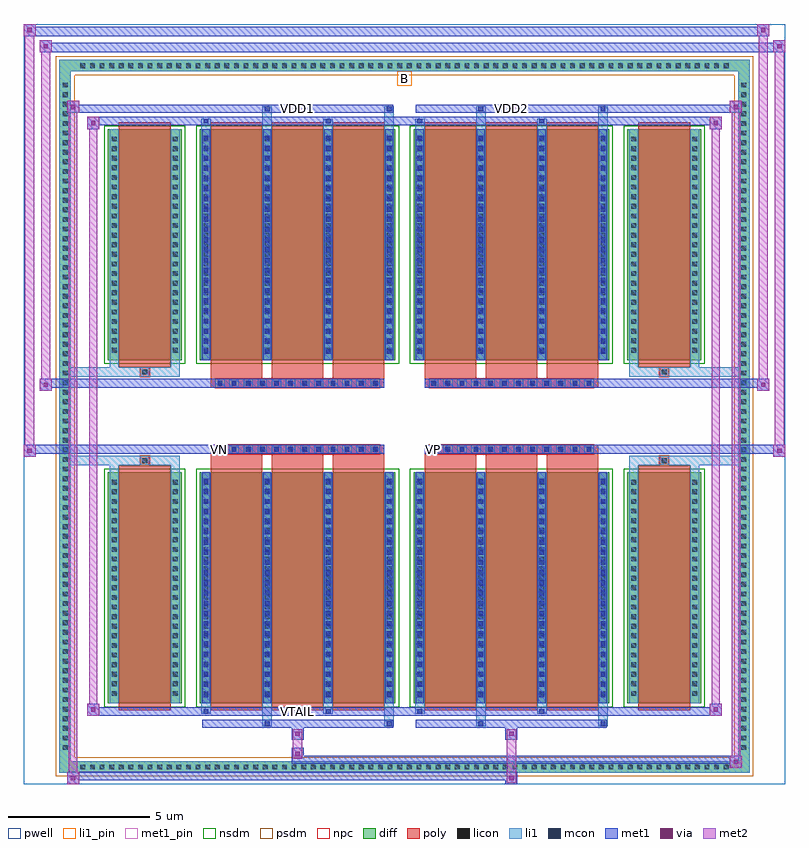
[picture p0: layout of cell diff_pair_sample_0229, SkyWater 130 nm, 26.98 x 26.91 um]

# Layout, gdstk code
import gdstk
lib = gdstk.Library(unit=1e-6, precision=5e-09)
def R(c, l, rs):  # rectangles x0, y0, x1, y1
    for r in rs: c.add(gdstk.rectangle(r[:2], r[2:], *l))
def A(c, l, x, y, w, h, nx, ny, dx, dy):  # array of equal rectangles
    R(c, l, [(x+i*dx, y+j*dy, x+i*dx+w, y+j*dy+h) for i in range(nx) for j in range(ny)])
def P(c, l, *ps):  # polygons
    for p in ps: c.add(gdstk.Polygon(p, *l))
pwell = (64, 44)
diff = (65, 20)
poly = (66, 20)
licon = (66, 44)
li1_pin = (67, 16)
li1 = (67, 20)
mcon = (67, 44)
met1_pin = (68, 16)
met1 = (68, 20)
via = (68, 44)
met2 = (69, 20)
nsdm = (93, 44)
psdm = (94, 20)
npc = (95, 20)

diff_pair_sample_0229 = lib.new_cell('diff_pair_sample_0229')
R(diff_pair_sample_0229, pwell, [(-13.49,-13.02,13.49,13.89), (-10.81,-11.21,-0.01,-0.805), (0.01,-11.21,10.81,-0.805), (-10.81,0.805,-0.01,11.21), (0.01,0.805,10.81,11.21)])
A(diff_pair_sample_0229, diff, -11.595, -12.62, 0.41, 0.41, 68, 2, 0.34, 24.83)
A(diff_pair_sample_0229, diff, -12.22, -11.935, 0.41, 0.41, 1, 70, 0, 0.34)
A(diff_pair_sample_0229, diff, 11.81, -11.935, 0.41, 0.41, 1, 70, 0, 0.34)
R(diff_pair_sample_0229, diff, [(-11.595,-12.62,11.595,-12.21), (-12.22,-11.935,-11.81,11.935), (11.81,-11.935,12.22,11.935), (-10.5,-10.165,-7.89,-1.985), (-7.25,-10.165,-0.32,-1.985), (0.32,-10.165,7.25,-1.985), (7.89,-10.165,10.5,-1.985), (-10.5,1.985,-7.89,10.165), (-7.25,1.985,-0.32,10.165), (0.32,1.985,7.25,10.165), (7.89,1.985,10.5,10.165), (-11.595,12.21,11.595,12.62)])
P(diff_pair_sample_0229, diff, [(12.22,12.62),(-12.22,12.62),(-12.22,-12.21),(-11.81,-12.21),(-11.81,12.21),(11.81,12.21),(11.81,-12.21),(-11.81,-12.21),(-12.22,-12.21),(-12.22,-12.62),(12.22,-12.62)])
A(diff_pair_sample_0229, poly, -6.86, -10.415, 1.83, 8.68, 3, 2, 2.16, 12.15)
A(diff_pair_sample_0229, poly, 0.71, -10.415, 1.83, 8.68, 3, 2, 2.16, 12.15)
A(diff_pair_sample_0229, poly, -6.86, -1.735, 1.83, 0.4, 3, 2, 2.16, 3.07)
A(diff_pair_sample_0229, poly, 0.71, -1.735, 1.83, 0.4, 3, 2, 2.16, 3.07)
A(diff_pair_sample_0229, poly, -6.7, -1.335, 0.33, 0.33, 12, 2, 0.5, 2.34)
A(diff_pair_sample_0229, poly, 0.87, -1.335, 0.33, 0.33, 12, 2, 0.5, 2.34)
R(diff_pair_sample_0229, poly, [(-10.11,-10.415,-8.28,-1.735), (8.28,-10.415,10.11,-1.735), (-9.36,-1.735,-9.03,-1.405), (-9.36,-1.735,-9.03,-1.405), (9.03,-1.735,9.36,-1.405), (9.03,-1.735,9.36,-1.405), (-6.86,-1.335,-0.71,-1.005), (0.71,-1.335,6.86,-1.005), (-6.86,1.005,-0.71,1.335), (0.71,1.005,6.86,1.335), (-9.36,1.405,-9.03,1.735), (-9.36,1.405,-9.03,1.735), (9.03,1.405,9.36,1.735), (9.03,1.405,9.36,1.735), (-10.11,1.735,-8.28,10.415), (8.28,1.735,10.11,10.415)])
A(diff_pair_sample_0229, licon, -11.475, -12.5, 0.17, 0.17, 68, 2, 0.34, 24.83)
A(diff_pair_sample_0229, licon, -12.1, -11.815, 0.17, 0.17, 1, 70, 0, 0.34)
A(diff_pair_sample_0229, licon, 11.93, -11.815, 0.17, 0.17, 1, 70, 0, 0.34)
A(diff_pair_sample_0229, licon, -10.36, -9.9, 0.17, 0.17, 1, 23, 0, 0.34)
A(diff_pair_sample_0229, licon, -8.2, -9.9, 0.17, 0.17, 1, 23, 0, 0.34)
A(diff_pair_sample_0229, licon, -7.11, -9.9, 0.17, 0.17, 4, 23, 2.16, 0.34)
A(diff_pair_sample_0229, licon, 0.46, -9.9, 0.17, 0.17, 4, 23, 2.16, 0.34)
A(diff_pair_sample_0229, licon, 8.03, -9.9, 0.17, 0.17, 1, 23, 0, 0.34)
A(diff_pair_sample_0229, licon, 10.19, -9.9, 0.17, 0.17, 1, 23, 0, 0.34)
A(diff_pair_sample_0229, licon, -6.62, -1.255, 0.17, 0.17, 12, 2, 0.5, 2.34)
A(diff_pair_sample_0229, licon, 0.95, -1.255, 0.17, 0.17, 12, 2, 0.5, 2.34)
A(diff_pair_sample_0229, licon, -10.36, 2.25, 0.17, 0.17, 1, 23, 0, 0.34)
A(diff_pair_sample_0229, licon, -8.2, 2.25, 0.17, 0.17, 1, 23, 0, 0.34)
A(diff_pair_sample_0229, licon, -7.11, 2.25, 0.17, 0.17, 4, 23, 2.16, 0.34)
A(diff_pair_sample_0229, licon, 0.46, 2.25, 0.17, 0.17, 4, 23, 2.16, 0.34)
A(diff_pair_sample_0229, licon, 8.03, 2.25, 0.17, 0.17, 1, 23, 0, 0.34)
A(diff_pair_sample_0229, licon, 10.19, 2.25, 0.17, 0.17, 1, 23, 0, 0.34)
R(diff_pair_sample_0229, licon, [(-9.28,-1.655,-9.11,-1.485), (9.11,-1.655,9.28,-1.485), (-9.28,1.485,-9.11,1.655), (9.11,1.485,9.28,1.655)])
R(diff_pair_sample_0229, li1_pin, [(-0.25,11.71,0.25,12.21)])
A(diff_pair_sample_0229, li1, -11.555, -12.58, 0.33, 0.33, 68, 2, 0.34, 24.83)
A(diff_pair_sample_0229, li1, -12.18, -11.895, 0.33, 0.33, 1, 70, 0, 0.34)
A(diff_pair_sample_0229, li1, 11.85, -11.895, 0.33, 0.33, 1, 70, 0, 0.34)
A(diff_pair_sample_0229, li1, -7.19, -10.165, 0.33, 8.18, 4, 2, 2.16, 12.15)
A(diff_pair_sample_0229, li1, 0.38, -10.165, 0.33, 8.18, 4, 2, 2.16, 12.15)
A(diff_pair_sample_0229, li1, -10.44, -9.98, 0.33, 0.33, 1, 23, 0, 0.34)
A(diff_pair_sample_0229, li1, -8.28, -9.98, 0.33, 0.33, 1, 23, 0, 0.34)
A(diff_pair_sample_0229, li1, -7.19, -9.98, 0.33, 0.33, 4, 23, 2.16, 0.34)
A(diff_pair_sample_0229, li1, 0.38, -9.98, 0.33, 0.33, 4, 23, 2.16, 0.34)
A(diff_pair_sample_0229, li1, 7.95, -9.98, 0.33, 0.33, 1, 23, 0, 0.34)
A(diff_pair_sample_0229, li1, 10.11, -9.98, 0.33, 0.33, 1, 23, 0, 0.34)
A(diff_pair_sample_0229, li1, -7.11, -9.94, 0.17, 0.17, 4, 22, 2.16, 0.36)
A(diff_pair_sample_0229, li1, -7.11, -9.94, 0.17, 7.73, 4, 2, 2.16, 12.15)
A(diff_pair_sample_0229, li1, 0.46, -9.94, 0.17, 0.17, 4, 22, 2.16, 0.36)
A(diff_pair_sample_0229, li1, 0.46, -9.94, 0.17, 7.73, 4, 2, 2.16, 12.15)
A(diff_pair_sample_0229, li1, -6.7, -1.335, 0.33, 0.33, 12, 2, 0.5, 2.34)
A(diff_pair_sample_0229, li1, 0.87, -1.335, 0.33, 0.33, 12, 2, 0.5, 2.34)
A(diff_pair_sample_0229, li1, -10.44, 2.17, 0.33, 0.33, 1, 23, 0, 0.34)
A(diff_pair_sample_0229, li1, -8.28, 2.17, 0.33, 0.33, 1, 23, 0, 0.34)
A(diff_pair_sample_0229, li1, -7.19, 2.17, 0.33, 0.33, 4, 23, 2.16, 0.34)
A(diff_pair_sample_0229, li1, 0.38, 2.17, 0.33, 0.33, 4, 23, 2.16, 0.34)
A(diff_pair_sample_0229, li1, 7.95, 2.17, 0.33, 0.33, 1, 23, 0, 0.34)
A(diff_pair_sample_0229, li1, 10.11, 2.17, 0.33, 0.33, 1, 23, 0, 0.34)
A(diff_pair_sample_0229, li1, -7.11, 2.21, 0.17, 0.17, 4, 22, 2.16, 0.36)
A(diff_pair_sample_0229, li1, 0.46, 2.21, 0.17, 0.17, 4, 22, 2.16, 0.36)
R(diff_pair_sample_0229, li1, [(-12.22,-12.62,-11.81,-12.21), (-12.22,-12.62,-11.81,-12.21), (-11.81,-12.62,11.81,-12.21), (11.81,-12.62,12.22,-12.21), (11.81,-12.62,12.22,-12.21), (-12.22,-12.21,-11.81,12.21), (11.81,-12.21,12.22,12.21), (-5.03,-10.97,-4.7,-10.165), (-4.95,-10.97,-4.78,-10.8), (-0.71,-10.97,-0.38,-10.165), (-0.63,-10.97,-0.46,-10.8), (2.54,-10.97,2.87,-10.165), (2.62,-10.97,2.79,-10.8), (6.86,-10.97,7.19,-10.165), (6.94,-10.97,7.11,-10.8), (-7.19,-10.54,-6.86,-10.165), (-7.11,-10.54,-6.94,-10.37), (-2.87,-10.54,-2.54,-10.165), (-2.79,-10.54,-2.62,-10.37), (0.38,-10.54,0.71,-10.165), (0.46,-10.54,0.63,-10.37), (4.7,-10.54,5.03,-10.165), (4.78,-10.54,4.95,-10.37), (-10.44,-10.165,-10.11,-1.985), (-8.28,-10.165,-7.95,-1.985), (7.95,-10.165,8.28,-1.985), (10.11,-10.165,10.44,-1.985), (-10.44,-1.985,-10.11,-1.405), (-8.28,-1.985,-7.95,-1.405), (7.95,-1.985,8.28,-1.405), (10.11,-1.985,10.44,-1.405), (-12.22,-1.735,-9.36,-1.405), (-10.44,-1.735,-9.36,-1.405), (-9.36,-1.735,-9.03,-1.405), (-9.03,-1.735,-7.95,-1.405), (7.95,-1.735,9.03,-1.405), (9.03,-1.735,9.36,-1.405), (9.03,-1.735,12.22,-1.405), (9.36,-1.735,10.44,-1.405), (-12.22,1.405,-9.36,1.735), (-10.44,1.405,-9.36,1.735), (-10.44,1.405,-10.11,1.985), (-9.36,1.405,-9.03,1.735), (-9.03,1.405,-7.95,1.735), (-8.28,1.405,-7.95,1.985), (7.95,1.405,9.03,1.735), (7.95,1.405,8.28,1.985), (9.03,1.405,9.36,1.735), (9.03,1.405,12.22,1.735), (9.36,1.405,10.44,1.735), (10.11,1.405,10.44,1.985), (-10.44,1.985,-10.11,10.165), (-8.28,1.985,-7.95,10.165), (7.95,1.985,8.28,10.165), (10.11,1.985,10.44,10.165), (-7.19,10.165,-6.86,10.54), (-5.03,10.165,-4.7,10.97), (-2.87,10.165,-2.54,10.54), (-0.71,10.165,-0.38,10.97), (0.38,10.165,0.71,10.54), (2.54,10.165,2.87,10.97), (4.7,10.165,5.03,10.54), (6.86,10.165,7.19,10.97), (-7.11,10.37,-6.94,10.54), (-2.79,10.37,-2.62,10.54), (0.46,10.37,0.63,10.54), (4.78,10.37,4.95,10.54), (-4.95,10.8,-4.78,10.97), (-0.63,10.8,-0.46,10.97), (2.62,10.8,2.79,10.97), (6.94,10.8,7.11,10.97), (-12.22,12.21,-11.81,12.62), (-12.22,12.21,-11.81,12.62), (-11.81,12.21,11.81,12.62), (11.81,12.21,12.22,12.62), (11.81,12.21,12.22,12.62)])
A(diff_pair_sample_0229, mcon, -7.11, -9.94, 0.17, 0.17, 4, 22, 2.16, 0.36)
A(diff_pair_sample_0229, mcon, 0.46, -9.94, 0.17, 0.17, 4, 22, 2.16, 0.36)
A(diff_pair_sample_0229, mcon, -6.62, -1.255, 0.17, 0.17, 12, 2, 0.5, 2.34)
A(diff_pair_sample_0229, mcon, 0.95, -1.255, 0.17, 0.17, 12, 2, 0.5, 2.34)
A(diff_pair_sample_0229, mcon, -7.11, 2.21, 0.17, 0.17, 4, 22, 2.16, 0.36)
A(diff_pair_sample_0229, mcon, 0.46, 2.21, 0.17, 0.17, 4, 22, 2.16, 0.36)
R(diff_pair_sample_0229, mcon, [(-4.95,-10.97,-4.78,-10.8), (-0.63,-10.97,-0.46,-10.8), (2.62,-10.97,2.79,-10.8), (6.94,-10.97,7.11,-10.8), (-7.11,-10.54,-6.94,-10.37), (-2.79,-10.54,-2.62,-10.37), (0.46,-10.54,0.63,-10.37), (4.78,-10.54,4.95,-10.37), (-7.11,10.37,-6.94,10.54), (-2.79,10.37,-2.62,10.54), (0.46,10.37,0.63,10.54), (4.78,10.37,4.95,10.54), (-4.95,10.8,-4.78,10.97), (-0.63,10.8,-0.46,10.97), (2.62,10.8,2.79,10.97), (6.94,10.8,7.11,10.97)])
R(diff_pair_sample_0229, met1_pin, [(-3.92,-10.58,-3.65,-10.31), (-6.67,-1.295,-6.4,-1.025), (0.9,-1.295,1.17,-1.025), (-3.92,10.76,-3.65,11.03), (3.65,10.76,3.92,11.03)])
A(diff_pair_sample_0229, met1, -7.17, -10.165, 0.29, 8.18, 4, 2, 2.16, 12.15)
A(diff_pair_sample_0229, met1, 0.4, -10.165, 0.29, 8.18, 4, 2, 2.16, 12.15)
A(diff_pair_sample_0229, met1, -7.17, -10, 0.29, 0.29, 4, 22, 2.16, 0.36)
A(diff_pair_sample_0229, met1, 0.4, -10, 0.29, 0.29, 4, 22, 2.16, 0.36)
A(diff_pair_sample_0229, met1, -6.68, -1.315, 0.29, 0.29, 12, 2, 0.5, 2.34)
A(diff_pair_sample_0229, met1, 0.89, -1.315, 0.29, 0.29, 12, 2, 0.5, 2.34)
A(diff_pair_sample_0229, met1, -7.17, 2.15, 0.29, 0.29, 4, 22, 2.16, 0.36)
A(diff_pair_sample_0229, met1, 0.4, 2.15, 0.29, 0.29, 4, 22, 2.16, 0.36)
R(diff_pair_sample_0229, met1, [(-11.95,-13.02,-11.52,-12.59), (3.57,-13.02,4,-12.59), (-11.95,-12.88,4,-12.59), (11.52,-12.45,11.95,-12.02), (-4,-12.31,11.95,-12.02), (-4,-12.17,-3.57,-11.74), (-4,-11.46,-3.57,-11.03), (3.57,-11.46,4,-11.03), (-7.17,-11.03,-0.4,-10.74), (-5.01,-11.03,-4.72,-10.74), (-0.69,-11.03,-0.4,-10.74), (0.4,-11.03,7.17,-10.74), (2.56,-11.03,2.85,-10.74), (6.88,-11.03,7.17,-10.74), (-11.24,-10.6,-10.81,-10.17), (-11.24,-10.6,-7.17,-10.31), (-7.17,-10.6,-6.88,-10.31), (-7.17,-10.6,-0.4,-10.31), (-2.85,-10.6,-2.56,-10.31), (-0.4,-10.6,0.4,-10.31), (0.4,-10.6,0.69,-10.31), (0.4,-10.6,7.17,-10.31), (4.72,-10.6,5.01,-10.31), (7.17,-10.6,11.24,-10.31), (10.81,-10.6,11.24,-10.17), (-13.49,-1.435,-13.06,-1.005), (13.06,-1.435,13.49,-1.005), (-13.49,-1.335,-0.71,-1.005), (-6.86,-1.335,-0.71,-1.005), (0.71,-1.335,6.86,-1.005), (0.71,-1.335,13.49,-1.005), (-12.92,0.905,-12.49,1.335), (12.49,0.905,12.92,1.335), (-12.92,1.005,-6.86,1.335), (-6.86,1.005,-0.71,1.335), (0.71,1.005,6.86,1.335), (6.86,1.005,12.92,1.335), (-11.24,10.17,-10.81,10.6), (10.81,10.17,11.24,10.6), (-11.24,10.31,-7.17,10.6), (-7.17,10.31,-6.88,10.6), (-7.17,10.31,-0.4,10.6), (-2.85,10.31,-2.56,10.6), (-0.4,10.31,0.4,10.6), (0.4,10.31,0.69,10.6), (0.4,10.31,7.17,10.6), (4.72,10.31,5.01,10.6), (7.17,10.31,11.24,10.6), (-11.95,10.74,-11.52,11.17), (-11.95,10.74,-7.17,11.03), (-7.17,10.74,-0.4,11.03), (-5.01,10.74,-4.72,11.03), (-0.69,10.74,-0.4,11.03), (0.4,10.74,7.17,11.03), (2.56,10.74,2.85,11.03), (6.88,10.74,7.17,11.03), (7.17,10.74,11.95,11.03), (11.52,10.74,11.95,11.17), (-12.92,12.89,-12.49,13.32), (-12.92,12.89,-10.81,13.22), (-10.81,12.89,10.81,13.22), (10.81,12.89,13.49,13.22), (13.06,12.89,13.49,13.32), (-13.49,13.46,-13.06,13.89), (-13.49,13.46,-10.81,13.79), (-10.81,13.46,10.81,13.79), (10.81,13.46,12.92,13.79), (12.49,13.46,12.92,13.89)])
R(diff_pair_sample_0229, via, [(-11.81,-12.88,-11.66,-12.73), (3.71,-12.88,3.86,-12.73), (11.66,-12.31,11.81,-12.16), (-3.86,-12.03,-3.71,-11.88), (-3.86,-11.32,-3.71,-11.17), (3.71,-11.32,3.86,-11.17), (-11.1,-10.46,-10.95,-10.31), (10.95,-10.46,11.1,-10.31), (-13.35,-1.295,-13.2,-1.145), (13.2,-1.295,13.35,-1.145), (-12.78,1.045,-12.63,1.195), (12.63,1.045,12.78,1.195), (-11.1,10.31,-10.95,10.46), (10.95,10.31,11.1,10.46), (-11.81,10.88,-11.66,11.03), (11.66,10.88,11.81,11.03), (-12.78,13.03,-12.63,13.18), (13.2,13.03,13.35,13.18), (-13.35,13.6,-13.2,13.75), (12.63,13.6,12.78,13.75)])
R(diff_pair_sample_0229, met2, [(-11.95,-13.02,-11.52,-12.59), (-11.88,-13.02,-11.59,11.17), (-11.59,-13.02,-11.52,-12.59), (-11.9,-12.97,-11.57,-12.64), (3.62,-12.97,3.95,-12.64), (3.62,-12.64,3.95,-11.41), (11.52,-12.45,11.95,-12.02), (11.59,-12.45,11.88,11.17), (11.88,-12.45,11.95,-12.02), (11.57,-12.4,11.9,-12.07), (-3.95,-12.12,-3.62,-11.79), (-3.95,-11.79,-3.62,-11.41), (-3.95,-11.41,-3.62,-11.08), (3.62,-11.41,3.95,-11.08), (-11.24,-10.6,-10.81,-10.17), (-11.17,-10.6,-10.88,10.6), (-10.88,-10.6,-10.81,-10.17), (10.81,-10.6,11.24,-10.17), (10.88,-10.6,11.17,10.6), (11.17,-10.6,11.24,-10.17), (-11.19,-10.55,-10.86,-10.22), (10.86,-10.55,11.19,-10.22), (-13.49,-1.435,-13.06,-1.005), (-13.44,-1.435,-13.11,13.89), (-13.11,-1.435,-13.06,-1.005), (13.06,-1.435,13.49,-1.005), (13.11,-1.435,13.44,13.32), (13.44,-1.435,13.49,-1.005), (-13.44,-1.385,-13.11,-1.055), (13.11,-1.385,13.44,-1.055), (-12.92,0.905,-12.49,1.335), (-12.87,0.905,-12.54,13.32), (-12.54,0.905,-12.49,1.335), (12.49,0.905,12.92,1.335), (12.54,0.905,12.87,13.89), (12.87,0.905,12.92,1.335), (-12.87,0.955,-12.54,1.285), (12.54,0.955,12.87,1.285), (-11.24,10.17,-10.81,10.6), (-10.88,10.17,-10.81,10.6), (10.81,10.17,11.24,10.6), (11.17,10.17,11.24,10.6), (-11.19,10.22,-10.86,10.55), (10.86,10.22,11.19,10.55), (-11.95,10.74,-11.52,11.17), (-11.59,10.74,-11.52,11.17), (11.52,10.74,11.95,11.17), (11.88,10.74,11.95,11.17), (-11.9,10.79,-11.57,11.12), (11.57,10.79,11.9,11.12), (-12.92,12.89,-12.49,13.32), (-12.54,12.89,-12.49,13.32), (13.06,12.89,13.49,13.32), (13.44,12.89,13.49,13.32), (-12.87,12.94,-12.54,13.27), (13.11,12.94,13.44,13.27), (-13.49,13.46,-13.06,13.89), (-13.11,13.46,-13.06,13.89), (12.49,13.46,12.92,13.89), (12.87,13.46,12.92,13.89), (-13.44,13.51,-13.11,13.84), (12.54,13.51,12.87,13.84)])
R(diff_pair_sample_0229, nsdm, [(-10.63,-10.295,-7.76,-1.855), (-7.38,-10.295,-0.19,-1.855), (0.19,-10.295,7.38,-1.855), (7.76,-10.295,10.63,-1.855), (-10.63,1.855,-7.76,10.295), (-7.38,1.855,-0.19,10.295), (0.19,1.855,7.38,10.295), (7.76,1.855,10.63,10.295)])
P(diff_pair_sample_0229, psdm, [(12.35,12.75),(-12.35,12.75),(-12.35,-12.08),(-11.68,-12.08),(-11.68,12.08),(11.68,12.08),(11.68,-12.08),(-11.68,-12.08),(-12.35,-12.08),(-12.35,-12.75),(12.35,-12.75)])
A(diff_pair_sample_0229, npc, -6.72, -1.355, 0.37, 0.37, 12, 2, 0.5, 2.34)
A(diff_pair_sample_0229, npc, 0.85, -1.355, 0.37, 0.37, 12, 2, 0.5, 2.34)
R(diff_pair_sample_0229, npc, [(-9.38,-1.755,-9.01,-1.385), (9.01,-1.755,9.38,-1.385), (-6.72,-1.355,-5.85,-0.985), (-6.72,-1.355,-5.85,-0.985), (-6.22,-1.355,-5.35,-0.985), (-6.22,-1.355,-5.35,-0.985), (-5.72,-1.355,-4.85,-0.985), (-5.72,-1.355,-4.85,-0.985), (-5.22,-1.355,-4.35,-0.985), (-5.22,-1.355,-4.35,-0.985), (-4.72,-1.355,-3.85,-0.985), (-4.72,-1.355,-3.85,-0.985), (-4.22,-1.355,-3.35,-0.985), (-4.22,-1.355,-3.35,-0.985), (-3.72,-1.355,-2.85,-0.985), (-3.72,-1.355,-2.85,-0.985), (-3.22,-1.355,-2.35,-0.985), (-3.22,-1.355,-2.35,-0.985), (-2.72,-1.355,-1.85,-0.985), (-2.72,-1.355,-1.85,-0.985), (-2.22,-1.355,-1.35,-0.985), (-2.22,-1.355,-1.35,-0.985), (-1.72,-1.355,-0.85,-0.985), (-1.72,-1.355,-0.85,-0.985), (0.85,-1.355,1.72,-0.985), (0.85,-1.355,1.72,-0.985), (1.35,-1.355,2.22,-0.985), (1.35,-1.355,2.22,-0.985), (1.85,-1.355,2.72,-0.985), (1.85,-1.355,2.72,-0.985), (2.35,-1.355,3.22,-0.985), (2.35,-1.355,3.22,-0.985), (2.85,-1.355,3.72,-0.985), (2.85,-1.355,3.72,-0.985), (3.35,-1.355,4.22,-0.985), (3.35,-1.355,4.22,-0.985), (3.85,-1.355,4.72,-0.985), (3.85,-1.355,4.72,-0.985), (4.35,-1.355,5.22,-0.985), (4.35,-1.355,5.22,-0.985), (4.85,-1.355,5.72,-0.985), (4.85,-1.355,5.72,-0.985), (5.35,-1.355,6.22,-0.985), (5.35,-1.355,6.22,-0.985), (5.85,-1.355,6.72,-0.985), (5.85,-1.355,6.72,-0.985), (-6.72,0.985,-5.85,1.355), (-6.72,0.985,-5.85,1.355), (-6.22,0.985,-5.35,1.355), (-6.22,0.985,-5.35,1.355), (-5.72,0.985,-4.85,1.355), (-5.72,0.985,-4.85,1.355), (-5.22,0.985,-4.35,1.355), (-5.22,0.985,-4.35,1.355), (-4.72,0.985,-3.85,1.355), (-4.72,0.985,-3.85,1.355), (-4.22,0.985,-3.35,1.355), (-4.22,0.985,-3.35,1.355), (-3.72,0.985,-2.85,1.355), (-3.72,0.985,-2.85,1.355), (-3.22,0.985,-2.35,1.355), (-3.22,0.985,-2.35,1.355), (-2.72,0.985,-1.85,1.355), (-2.72,0.985,-1.85,1.355), (-2.22,0.985,-1.35,1.355), (-2.22,0.985,-1.35,1.355), (-1.72,0.985,-0.85,1.355), (-1.72,0.985,-0.85,1.355), (0.85,0.985,1.72,1.355), (0.85,0.985,1.72,1.355), (1.35,0.985,2.22,1.355), (1.35,0.985,2.22,1.355), (1.85,0.985,2.72,1.355), (1.85,0.985,2.72,1.355), (2.35,0.985,3.22,1.355), (2.35,0.985,3.22,1.355), (2.85,0.985,3.72,1.355), (2.85,0.985,3.72,1.355), (3.35,0.985,4.22,1.355), (3.35,0.985,4.22,1.355), (3.85,0.985,4.72,1.355), (3.85,0.985,4.72,1.355), (4.35,0.985,5.22,1.355), (4.35,0.985,5.22,1.355), (4.85,0.985,5.72,1.355), (4.85,0.985,5.72,1.355), (5.35,0.985,6.22,1.355), (5.35,0.985,6.22,1.355), (5.85,0.985,6.72,1.355), (5.85,0.985,6.72,1.355), (-9.38,1.385,-9.01,1.755), (9.01,1.385,9.38,1.755)])
diff_pair_sample_0229.add(gdstk.Label('VTAIL', (-3.785,-10.445), layer=68, texttype=5))
diff_pair_sample_0229.add(gdstk.Label('VN', (-6.535,-1.16), layer=68, texttype=5))
diff_pair_sample_0229.add(gdstk.Label('VP', (1.035,-1.16), layer=68, texttype=5))
diff_pair_sample_0229.add(gdstk.Label('B', (0,11.96), layer=67, texttype=5))
diff_pair_sample_0229.add(gdstk.Label('VDD2', (3.785,10.895), layer=68, texttype=5))
diff_pair_sample_0229.add(gdstk.Label('VDD1', (-3.785,10.895), layer=68, texttype=5))

lib.write_gds('diff_pair_sample_0229.gds')
